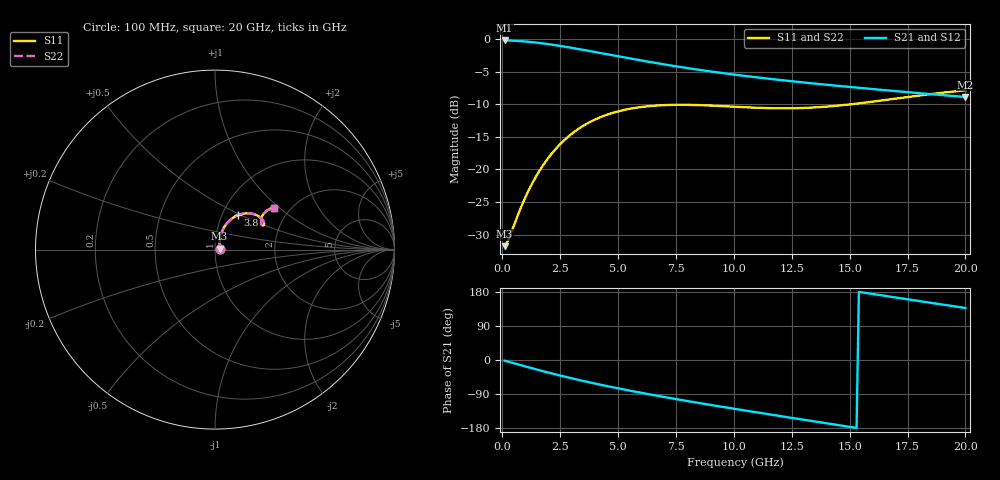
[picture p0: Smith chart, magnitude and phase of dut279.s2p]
! Created with skrf 1.9.0 (http://scikit-rf.org).
# GHz S RI R 50.0
!freq ReS11 ImS11 ReS21 ImS21 ReS12 ImS12 ReS22 ImS22
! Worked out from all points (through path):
!   200 points, 100 MHz to 20 GHz, reference 50 ohm
!   highest |S21| = -0.22 dB at 100 MHz (marker M1); lowest = -8.9 dB at 20 GHz (marker M2)
!   group delay of S21, straight-line fit = 29.5 ps
!   lowest |S11| = -31.8 dB at 100 MHz (marker M3), VSWR 1.05, Z = 52.6 + j0.533 ohm
!   |S11| at or under -10 dB: start of sweep to 15.09 GHz
!   |S22| runs from -31.8 to -7.9 dB; largest |S21 - S12| = 2.3e-15
!   S11 on the Smith chart (normalised r, x): 100 MHz: 1.05, +0.01; 3.8 GHz: 1.19, +0.48; 20 GHz: 1.66, +0.93
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0.1  0.0253 0.00506  0.9741 -0.0292  0.9741 -0.0292  0.0253 0.00506
0.3  0.0254 0.0158  0.9691 -0.088  0.9691 -0.088  0.0254 0.0158
0.8  0.0269 0.0431  0.9356 -0.229  0.9356 -0.229  0.0269 0.0431
1.1  0.0289 0.0603  0.9028 -0.3073  0.9028 -0.3073  0.0289 0.0603
1.7  0.0379 0.0965  0.8148 -0.4443  0.8148 -0.4443  0.0379 0.0965
2.1  0.0486 0.1205  0.7443 -0.5193  0.7443 -0.5193  0.0486 0.1205
2.5  0.0632 0.1428  0.6679 -0.5807  0.6679 -0.5807  0.0632 0.1428
3  0.0862 0.1667  0.5685 -0.6391  0.5685 -0.6391  0.0862 0.1667
3.5  0.1126 0.1846  0.4687 -0.6789  0.4687 -0.6789  0.1126 0.1846
3.8  0.1292 0.1922  0.4099 -0.6949  0.4099 -0.6949  0.1292 0.1922
4.4  0.162 0.2008  0.2972 -0.7114  0.2972 -0.7114  0.162 0.2008
5.1  0.1968 0.2013  0.1763 -0.7096  0.1763 -0.7096  0.1968 0.2013
5.9  0.2289 0.1929  0.0541 -0.687  0.0541 -0.687  0.2289 0.1929
6.8  0.2538 0.1777  -0.0629 -0.6436  -0.0629 -0.6436  0.2538 0.1777
8.4  0.2727 0.1503  -0.2232 -0.5392  -0.2232 -0.5392  0.2727 0.1503
10.1  0.2701 0.1348  -0.3378 -0.4096  -0.3378 -0.4096  0.2701 0.1348
11.7  0.2606 0.1373  -0.4028 -0.2814  -0.4028 -0.2814  0.2606 0.1373
13.4  0.2546 0.1549  -0.4326 -0.1463  -0.4326 -0.1463  0.2546 0.1549
15  0.2589 0.1792  -0.4279 -0.0265  -0.4279 -0.0265  0.2589 0.1792
16.7  0.2755 0.2051  -0.393 0.0863  -0.393 0.0863  0.2755 0.2051
18.4  0.3015 0.2246  -0.3342 0.1785  -0.3342 0.1785  0.3015 0.2246
20  0.3297 0.2338  -0.2639 0.2436  -0.2639 0.2436  0.3297 0.2338
